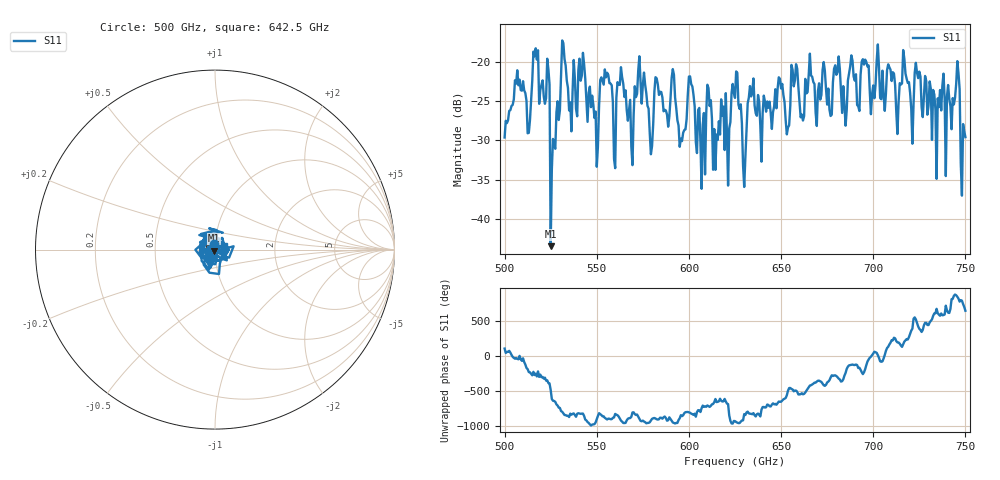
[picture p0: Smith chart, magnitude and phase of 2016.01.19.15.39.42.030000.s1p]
!Created with skrf (http://scikit-rf.org).
# GHz S RI R 50.0
!freq ReS11 ImS11
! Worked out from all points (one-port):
!   401 points, 500 GHz to 750 GHz, reference 50 ohm
!   lowest |S11| = -43.5 dB at 525 GHz (marker M1), VSWR 1.01, Z = 49.6 - j0.518 ohm
!   |S11| at or under -10 dB: start of sweep to end of sweep
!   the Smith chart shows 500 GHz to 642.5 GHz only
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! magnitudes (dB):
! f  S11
! 500 GHz  -29.6
! 506.9 GHz  -21.0
! 513.1 GHz  -29.0
! 516.9 GHz  -18.2
! 523.1 GHz  -19.6
! 525 GHz  -43.5
! 526.2 GHz  -29.8
! 531.2 GHz  -17.2
! 549.4 GHz  -26.3
! 562.5 GHz  -22.9
! 568.1 GHz  -24.8
! 573.8 GHz  -22.5
! 579.4 GHz  -31.8
! 582.5 GHz  -22.1
! 593.8 GHz  -27.4
! 601.2 GHz  -22.8
! 614.4 GHz  -33.8
! 625 GHz  -24.6
! 630 GHz  -36.0
! 633.8 GHz  -24.4
! 653.8 GHz  -28.3
! 656.2 GHz  -21.0
! 684.4 GHz  -25.5
! 687.5 GHz  -20.5
! 718.8 GHz  -22.7
! 733.1 GHz  -24.1
! 745.6 GHz  -19.9
! 750 GHz  -29.6
